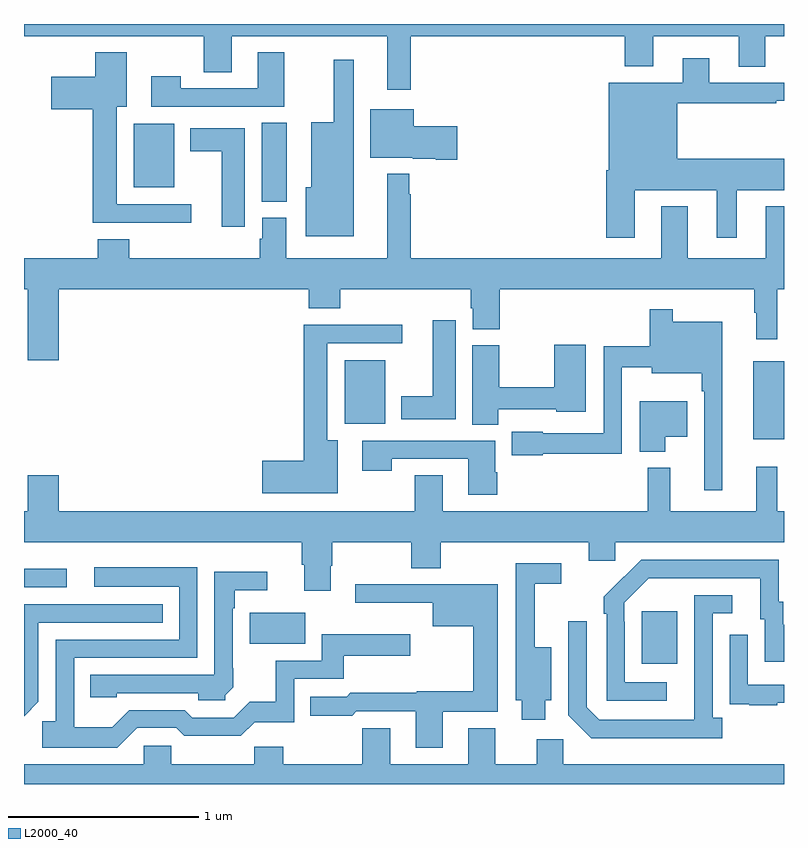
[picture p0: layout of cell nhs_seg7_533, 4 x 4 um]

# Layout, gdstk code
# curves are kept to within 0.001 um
import gdstk
lib = gdstk.Library(unit=1e-6, precision=1e-09)
def R(c, l, rs):  # rectangles x0, y0, x1, y1
    for r in rs: c.add(gdstk.rectangle(r[:2], r[2:], *l))
def P(c, l, *ps):  # polygons
    for p in ps: c.add(gdstk.Polygon(p, *l))
L2000_40 = (2000, 40)

nhs_seg7_533 = lib.new_cell('nhs_seg7_533')
R(nhs_seg7_533, L2000_40, [(156.251,1010.633,156.439,1010.908), (154.188,1010.738,154.481,1010.902), (153,1011.036,153.226,1011.133), (156.839,1011.815,157,1012.225), (154.688,1011.896,154.9,1012.231), (154.25,1013.065,154.384,1013.48), (153.578,1013.141,153.79,1013.476)])
P(nhs_seg7_533, L2000_40, [(155.035,1013.936),(156.161,1013.936),(156.161,1013.777),(156.313,1013.777),(156.313,1013.936),(156.761,1013.936),(156.761,1013.776),(156.901,1013.776),(156.901,1013.936),(157,1013.936),(157,1014),(153,1014),(153,1013.936),(153.946,1013.936),(153.946,1013.746),(154.093,1013.746),(154.093,1013.936),(154.913,1013.936),(154.913,1013.655),(155.035,1013.655)],
  [(154.369,1013.851),(154.229,1013.851),(154.229,1013.661),(153.825,1013.661),(153.825,1013.725),(153.669,1013.725),(153.669,1013.565),(154.369,1013.565)],
  [(153.88,1013.052),(153.487,1013.052),(153.487,1013.564),(153.541,1013.564),(153.541,1013.851),(153.374,1013.851),(153.374,1013.722),(153.144,1013.722),(153.144,1013.552),(153.362,1013.552),(153.362,1012.955),(153.88,1012.955)],
  [(156.214,1013.126),(156.647,1013.126),(156.647,1012.875),(156.751,1012.875),(156.751,1013.126),(157,1013.126),(157,1013.29),(156.439,1013.29),(156.439,1013.583),(156.959,1013.583),(156.959,1013.595),(157,1013.595),(157,1013.691),(156.607,1013.691),(156.607,1013.821),(156.467,1013.821),(156.467,1013.692),(156.077,1013.692),(156.077,1013.23),(156.065,1013.23),(156.065,1012.875),(156.214,1012.875)],
  [(154.735,1013.812),(154.629,1013.812),(154.629,1013.482),(154.511,1013.482),(154.511,1013.142),(154.484,1013.142),(154.484,1012.883),(154.735,1012.883)],
  [(155.281,1013.463),(155.05,1013.463),(155.05,1013.551),(154.823,1013.551),(154.823,1013.297),(155.046,1013.297),(155.046,1013.291),(155.168,1013.291),(155.168,1013.285),(155.281,1013.285)],
  [(154.162,1013.452),(153.875,1013.452),(153.875,1013.33),(154.04,1013.33),(154.04,1012.932),(154.162,1012.932)],
  [(153.184,1012.604),(154.499,1012.604),(154.499,1012.505),(154.664,1012.505),(154.664,1012.604),(155.351,1012.604),(155.351,1012.503),(155.363,1012.503),(155.363,1012.393),(155.504,1012.393),(155.504,1012.604),(156.843,1012.604),(156.843,1012.481),(156.854,1012.481),(156.854,1012.341),(156.964,1012.341),(156.964,1012.604),(157,1012.604),(157,1013.041),(156.905,1013.041),(156.905,1012.768),(156.493,1012.768),(156.493,1013.041),(156.353,1013.041),(156.353,1012.768),(155.035,1012.768),(155.035,1013.105),(155.027,1013.105),(155.027,1013.212),(154.913,1013.212),(154.913,1012.768),(154.381,1012.768),(154.381,1012.98),(154.253,1012.98),(154.253,1012.869),(154.241,1012.869),(154.241,1012.768),(153.554,1012.768),(153.554,1012.867),(153.389,1012.867),(153.389,1012.768),(153,1012.768),(153,1012.604),(153.02,1012.604),(153.02,1012.23),(153.184,1012.23)],
  [(156.676,1012.432),(156.415,1012.432),(156.415,1012.498),(156.294,1012.498),(156.294,1012.303),(156.051,1012.303),(156.051,1011.846),(155.73,1011.846),(155.73,1011.855),(155.568,1011.855),(155.568,1011.73),(155.73,1011.73),(155.73,1011.738),(156.147,1011.738),(156.147,1012.193),(156.305,1012.193),(156.305,1012.163),(156.567,1012.163),(156.567,1012.067),(156.579,1012.067),(156.579,1011.546),(156.676,1011.546)],
  [(155.272,1012.441),(155.15,1012.441),(155.15,1012.042),(154.985,1012.042),(154.985,1011.92),(155.272,1011.92)],
  [(154.651,1011.808),(154.597,1011.808),(154.597,1012.32),(154.99,1012.32),(154.99,1012.418),(154.472,1012.418),(154.472,1011.701),(154.254,1011.701),(154.254,1011.53),(154.651,1011.53)],
  [(155.496,1011.972),(155.802,1011.972),(155.802,1011.959),(155.956,1011.959),(155.956,1012.312),(155.791,1012.312),(155.791,1012.088),(155.502,1012.088),(155.502,1012.308),(155.36,1012.308),(155.36,1011.892),(155.496,1011.892)],
  [(156.376,1011.827),(156.49,1011.827),(156.49,1012.015),(156.242,1012.015),(156.242,1011.749),(156.376,1011.749)],
  [(155.492,1011.641),(155.479,1011.641),(155.479,1011.807),(154.779,1011.807),(154.779,1011.648),(154.935,1011.648),(154.935,1011.711),(155.339,1011.711),(155.339,1011.522),(155.492,1011.522)],
  [(154.615,1011.148),(154.623,1011.148),(154.623,1011.272),(155.038,1011.272),(155.038,1011.136),(155.193,1011.136),(155.193,1011.272),(155.972,1011.272),(155.972,1011.174),(156.111,1011.174),(156.111,1011.272),(157,1011.272),(157,1011.436),(156.964,1011.436),(156.964,1011.67),(156.854,1011.67),(156.854,1011.436),(156.401,1011.436),(156.401,1011.664),(156.283,1011.664),(156.283,1011.436),(155.203,1011.436),(155.203,1011.626),(155.056,1011.626),(155.056,1011.436),(153.184,1011.436),(153.184,1011.625),(153.02,1011.625),(153.02,1011.436),(153,1011.436),(153,1011.272),(154.463,1011.272),(154.463,1011.153),(154.475,1011.153),(154.475,1011.018),(154.615,1011.018)],
  [(156.382,1010.535),(156.162,1010.535),(156.162,1010.855),(156.159,1010.855),(156.159,1010.955),(156.288,1011.084),(156.875,1011.084),(156.875,1010.868),(156.899,1010.868),(156.899,1010.643),(157,1010.643),(157,1010.839),(156.997,1010.839),(156.997,1010.958),(156.972,1010.958),(156.972,1011.18),(156.248,1011.18),(156.051,1010.985),(156.051,1010.897),(156.066,1010.897),(156.066,1010.439),(156.382,1010.439)],
  [(155.743,1010.441),(155.776,1010.441),(155.776,1010.719),(155.687,1010.719),(155.687,1011.054),(155.827,1011.054),(155.827,1011.162),(155.589,1011.162),(155.589,1010.441),(155.621,1010.441),(155.621,1010.339),(155.743,1010.339)],
  [(153.595,1010.295),(153.801,1010.295),(153.844,1010.253),(154.142,1010.253),(154.214,1010.324),(154.422,1010.324),(154.422,1010.553),(154.682,1010.553),(154.682,1010.675),(155.032,1010.675),(155.032,1010.788),(154.566,1010.788),(154.566,1010.649),(154.324,1010.649),(154.324,1010.433),(154.188,1010.433),(154.104,1010.349),(153.885,1010.349),(153.846,1010.388),(153.555,1010.388),(153.465,1010.298),(153.264,1010.298),(153.264,1010.664),(153.912,1010.664),(153.912,1011.142),(153.369,1011.142),(153.369,1011.038),(153.816,1011.038),(153.816,1010.76),(153.168,1010.76),(153.168,1010.33),(153.095,1010.33),(153.095,1010.192),(153.492,1010.192)],
  [(154.059,1010.468),(154.101,1010.509),(154.101,1010.608),(154.098,1010.608),(154.098,1010.924),(154.11,1010.924),(154.11,1011.021),(154.279,1011.021),(154.279,1011.118),(154.002,1011.118),(154.002,1010.574),(153.349,1010.574),(153.349,1010.457),(153.489,1010.457),(153.489,1010.478),(153.917,1010.478),(153.917,1010.442),(154.059,1010.442)],
  [(155.203,1010.379),(155.494,1010.379),(155.494,1011.052),(154.743,1011.051),(154.743,1010.954),(155.15,1010.954),(155.15,1010.831),(155.365,1010.831),(155.365,1010.488),(155.067,1010.488),(155.067,1010.479),(154.717,1010.479),(154.698,1010.46),(154.507,1010.46),(154.507,1010.36),(154.727,1010.36),(154.749,1010.382),(155.063,1010.382),(155.063,1010.19),(155.203,1010.19)],
  [(156.676,1010.35),(156.624,1010.35),(156.624,1010.898),(156.727,1010.898),(156.727,1010.994),(156.528,1010.994),(156.527,1010.337),(156.027,1010.337),(155.961,1010.403),(155.961,1010.857),(155.865,1010.857),(155.865,1010.361),(155.986,1010.24),(156.676,1010.24)],
  [(153.075,1010.432),(153.075,1010.85),(153.731,1010.85),(153.731,1010.946),(153,1010.946),(153,1010.357)],
  [(156.965,1010.427),(157,1010.427),(157,1010.523),(156.81,1010.523),(156.81,1010.785),(156.714,1010.785),(156.714,1010.53),(156.715,1010.53),(156.715,1010.421),(156.817,1010.421),(156.817,1010.415),(156.965,1010.415)],
  [(157,1010.104),(155.838,1010.104),(155.838,1010.236),(155.699,1010.236),(155.699,1010.104),(155.479,1010.104),(155.479,1010.294),(155.339,1010.294),(155.339,1010.104),(154.927,1010.104),(154.927,1010.294),(154.78,1010.294),(154.78,1010.104),(154.365,1010.104),(154.365,1010.197),(154.211,1010.197),(154.211,1010.104),(153.776,1010.104),(153.776,1010.202),(153.63,1010.202),(153.63,1010.104),(153,1010.104),(153,1010),(157,1010)])

lib.write_gds('nhs_seg7_533.gds')
